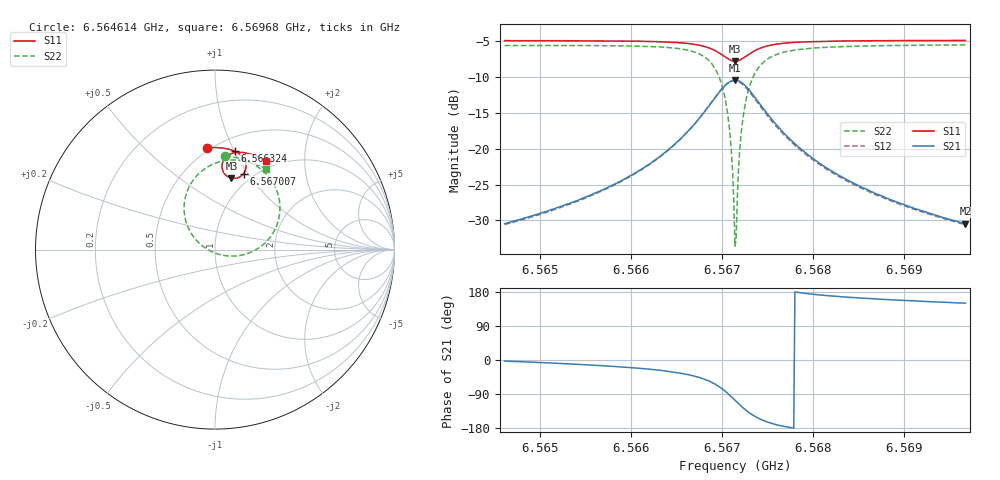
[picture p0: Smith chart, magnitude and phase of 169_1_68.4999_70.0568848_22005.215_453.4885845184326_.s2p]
#  HZ  S  RI  R  50.00
! Rohde & Schwarz Vector Network Analyzer
! Rohde-Schwarz,ZNB20-2Port,1311601062101988,3.16
! Created: UTC 3/20/2024, 5:11:15 PM
! freq[Hz]  re:S11  im:S11  re:S21  im:S21  re:S12  im:S12  re:S22  im:S22
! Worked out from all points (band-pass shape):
!   401 points, 6.564614 GHz to 6.56968 GHz, reference 50 ohm
!   highest |S21| = -10.42 dB at 6.567147 GHz (marker M1); lowest = -30.4 dB at 6.56968 GHz (marker M2)
!   |S21| within 3 dB of the highest: 6.566895 GHz to 6.567401 GHz (506.2 kHz wide, 0.00771 % of centre)
!   lowest |S11| = -7.8 dB at 6.567147 GHz (marker M3), VSWR 2.38, Z = 42.3 + j40.5 ohm
!   |S11| at or under -10 dB: nowhere
!   |S22| runs from -33.6 to -5.5 dB; largest |S21 - S12| = 0.015
!   S11 on the Smith chart (normalised r, x): 6.564614 GHz: 0.48, +0.80; 6.566324 GHz: 0.63, +1.01; 6.567007 GHz: 0.90, +0.95; 6.56968 GHz: 0.90, +1.31
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6.5646138e9  -0.043 0.5675  0.03 -0.00131  0.0296 -0.00195  0.0579 0.5228
6.5654624e9  0.0274 0.567  0.0438 -0.00941  0.0432 -0.00984  0.1413 0.5066
6.5663109e9  0.1097 0.5483  0.0779 -0.0396  0.0768 -0.0403  0.2615 0.4433
6.5663236e9  0.1112 0.5478  0.0788 -0.0404  0.0776 -0.0414  0.2639 0.4412
6.5666022e9  0.1449 0.5262  0.1012 -0.0766  0.0997 -0.0783  0.3239 0.3702
6.5668048e9  0.1688 0.4913  0.1144 -0.1377  0.1119 -0.1405  0.3613 0.2523
6.5669188e9  0.1727 0.4566  0.103 -0.1985  0.0979 -0.2022  0.3446 0.1365
6.5670075e9  0.1591 0.4229  0.062 -0.2561  0.0532 -0.2595  0.2697 0.0289
6.5670455e9  0.1456 0.4098  0.0311 -0.2777  0.02 -0.2795  0.2115 -0.00942
6.5670835e9  0.1275 0.4002  -0.00859 -0.2919  -0.021 -0.2912  0.1388 -0.0329
6.5671088e9  0.1134 0.3971  -0.0381 -0.2953  -0.0513 -0.2926  0.0852 -0.0362
6.5671341e9  0.0988 0.397  -0.0688 -0.2928  -0.0818 -0.2878  0.0306 -0.0287
6.5671468e9  0.0914 0.3983  -0.0839 -0.2894  -0.0967 -0.283  0.00404 -0.0205
6.5671721e9  0.0774 0.4031  -0.1126 -0.2781  -0.1246 -0.2694  -0.0454 0.0032
6.5671975e9  0.0648 0.4108  -0.1381 -0.2615  -0.1483 -0.2511  -0.0882 0.0359
6.5672355e9  0.0506 0.4262  -0.168 -0.2301  -0.1752 -0.218  -0.1355 0.0952
6.5672861e9  0.0405 0.4496  -0.1906 -0.1836  -0.1937 -0.1712  -0.1674 0.1798
6.5673494e9  0.0402 0.4769  -0.1964 -0.1305  -0.1961 -0.1196  -0.1688 0.2732
6.5675774e9  0.0784 0.5289  -0.1505 -0.029  -0.147 -0.0242  -0.0658 0.4439
6.5679954e9  0.1415 0.5422  -0.0859 0.00937  -0.0837 0.0108  0.0765 0.4984
6.5688439e9  0.2234 0.5233  -0.0415 0.0157  -0.0406 0.0161  0.2081 0.4825
6.5696798e9  0.2865 0.4936  -0.026 0.015  -0.0254 0.0151  0.2849 0.4488
